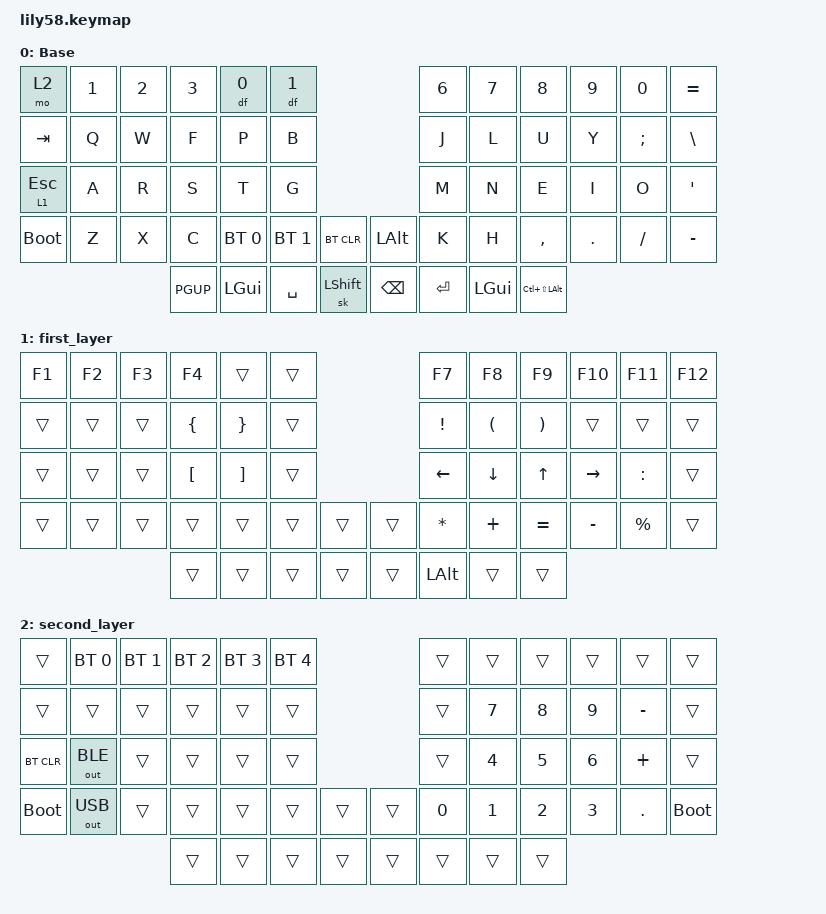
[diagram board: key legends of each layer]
/*
 * Copyright (c) 2020 The ZMK Contributors
 *
 * SPDX-License-Identifier: MIT
 */

#include <behaviors.dtsi>
#include "elpekenin/behaviors.dtsi"
#include <dt-bindings/zmk/keys.h>
#include <dt-bindings/zmk/bt.h>
#include <dt-bindings/zmk/ext_power.h>
#include <dt-bindings/zmk/outputs.h>

&mt {
    flavor = "tap-preferred";
    tapping_term_ms = <200>;
    quick_tap_ms = <200>;
};

&lt {
    tapping_term_ms = <200>;
};

&sk {
    release-after-ms = <10000>;
};

/ {
    keymap {
        compatible = "zmk,keymap";
        default_layer {
            label = "Base"; 
            bindings = <
&mo 2      &kp N1  &kp N2 &kp N3 &df 0 &df 1                                           &kp N6    &kp N7    &kp N8     &kp N9    &kp N0    &kp EQUAL
&kp TAB    &kp Q   &kp W  &kp F  &kp P  &kp B                                            &kp J     &kp L     &kp U      &kp Y     &kp SEMI  &kp BSLH
&lt 1 ESC  &kp A   &kp R  &kp S  &kp T  &kp G                                            &kp M     &kp N     &kp E      &kp I     &kp O     &kp SQT
&bootloader  &kp Z   &kp X  &kp C  &bt BT_SEL 0 &bt BT_SEL 1    &bt BT_CLR        &kp LALT  &kp K     &kp H     &kp COMMA  &kp DOT   &kp FSLH  &kp MINUS
                &kp PGUP     &kp LGUI   &kp SPACE  &sk LSHFT    &kp BSPC       &kp RET  &kp LGUI   &kp LC(LS(LALT))
            >;
        };

        first_layer {
            bindings = <
&kp F1  &kp F2  &kp F3  &kp F4    &trans    &trans                            &kp F7    &kp F8    &kp F9     &kp F10    &kp F11    &kp F12
&trans  &trans  &trans  &kp LBRC  &kp RBRC  &trans                            &kp EXCL  &kp LPAR  &kp RPAR   &trans     &trans     &trans
&trans  &trans  &trans  &kp LBKT  &kp RBKT  &trans                            &kp LEFT  &kp DOWN  &kp UP     &kp RIGHT  &kp COLON  &trans
&trans  &trans  &trans  &trans    &trans    &trans  &trans          &trans    &kp STAR  &kp PLUS  &kp EQUAL  &kp MINUS  &kp PRCNT  &trans
                        &trans    &trans    &trans  &trans          &trans    &kp LALT    &trans    &trans
            >;
        };

        second_layer {
            bindings = <
&trans      &bt BT_SEL 0  &bt BT_SEL 1  &bt BT_SEL 2  &bt BT_SEL 3  &bt BT_SEL 4         &trans &trans &trans &trans &trans &trans
&trans      &trans &trans    &trans        &trans        &trans                          &trans        &kp N7        &kp N8        &kp N9        &kp MINUS     &trans
&bt BT_CLR  &out OUT_BLE &trans    &trans        &trans        &trans                          &trans        &kp N4        &kp N5        &kp N6        &kp PLUS       &trans
&bootloader &out OUT_USB &trans    &trans        &trans        &trans      &trans      &trans  &kp N0        &kp N1        &kp N2        &kp N3        &kp DOT      &bootloader
                             &trans        &trans        &trans      &trans      &trans  &trans        &trans        &trans
            >;
        };
    };
};
